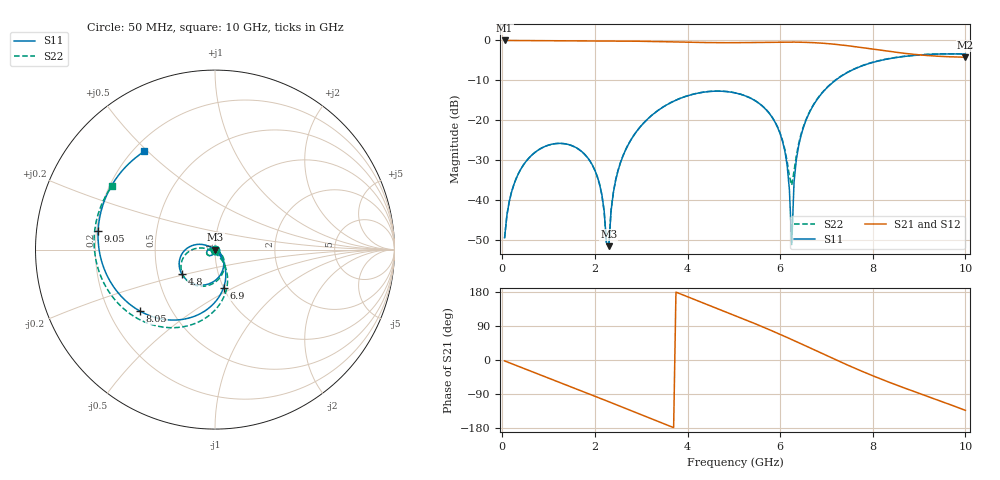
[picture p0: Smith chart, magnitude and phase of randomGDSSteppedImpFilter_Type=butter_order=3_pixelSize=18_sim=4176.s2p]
! freq	dB(S11)	phase(S11)	dB(S12)	phase(S12)
!  dB(S21)	phase(S21)	dB(S22)	phase(S22)
!S-par simulation data
#  GHz  S  DB  R 50
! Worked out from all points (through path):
!   200 points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, 50 MHz to 10 GHz, reference 50 ohm
!   highest |S21| = 0.00 dB at 50 MHz (marker M1); lowest = -4.2 dB at 10 GHz (marker M2)
!   group delay of S21, straight-line fit = 139 ps
!   lowest |S11| = -51.6 dB at 2.3 GHz (marker M3), VSWR 1.01, Z = 50.3 + j0.053 ohm
!   |S11| at or under -10 dB: start of sweep to 7.194 GHz
!   |S22| runs from -51.2 to -3.3 dB; largest |S21 - S12| = 0
!   S11 on the Smith chart (normalised r, x): 50 MHz: 1.00, -0.01; 4.8 GHz: 0.67, -0.19; 6.9 GHz: 1.00, -0.45; 8.05 GHz: 0.33, -0.32; 9.05 GHz: 0.21, +0.08; 10 GHz: 0.24, +0.49
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0.05  -49.51 -89.0  -0.00 -2.4  -0.00 -2.4  -49.50 -88.9
0.25  -36.13 -101.0  -0.02 -12.0  -0.02 -12.0  -36.13 -100.8
0.6  -29.18 -119.3  -0.04 -28.7  -0.04 -28.7  -29.18 -118.8
1.75  -28.22 -176.4  -0.10 -83.6  -0.10 -83.6  -28.25 -174.9
2.1  -36.01 163.8  -0.12 -100.4  -0.12 -100.4  -36.11 165.6
2.3  -51.59 11.6  -0.13 -110.1  -0.13 -110.1  -51.00 11.3
2.4  -38.05 -20.8  -0.14 -115.0  -0.14 -115.0  -37.89 -18.5
2.6  -29.15 -34.3  -0.15 -124.7  -0.15 -124.7  -29.08 -31.8
3.4  -17.25 -75.2  -0.29 -163.8  -0.29 -163.8  -17.23 -71.8
4.8  -12.78 -143.6  -0.56 128.3  -0.56 128.3  -12.76 -137.6
5.05  -13.21 -155.9  -0.56 116.1  -0.56 116.1  -13.19 -149.1
6  -23.40 156.4  -0.42 67.6  -0.42 67.6  -23.25 172.9
6.15  -31.20 151.0  -0.41 59.5  -0.41 59.5  -30.23 -178.2
6.25  -51.20 -96.1  -0.41 54.0  -0.41 54.0  -36.31 -114.6
6.3  -35.52 -50.1  -0.42 51.2  -0.42 51.2  -32.74 -76.8
6.35  -29.87 -49.1  -0.42 48.5  -0.42 48.5  -28.83 -63.1
6.7  -16.60 -65.9  -0.54 28.8  -0.54 28.8  -16.47 -63.2
6.9  -13.26 -77.3  -0.68 17.5  -0.68 17.5  -13.18 -72.4
8.05  -5.35 -140.5  -2.26 -44.1  -2.26 -44.1  -5.30 -129.3
8.35  -4.59 -155.5  -2.74 -58.5  -2.74 -58.5  -4.53 -143.0
9.05  -3.62 170.9  -3.66 -90.2  -3.66 -90.2  -3.57 -172.8
10  -3.43 125.7  -4.20 -132.9  -4.20 -132.9  -3.42 148.3
